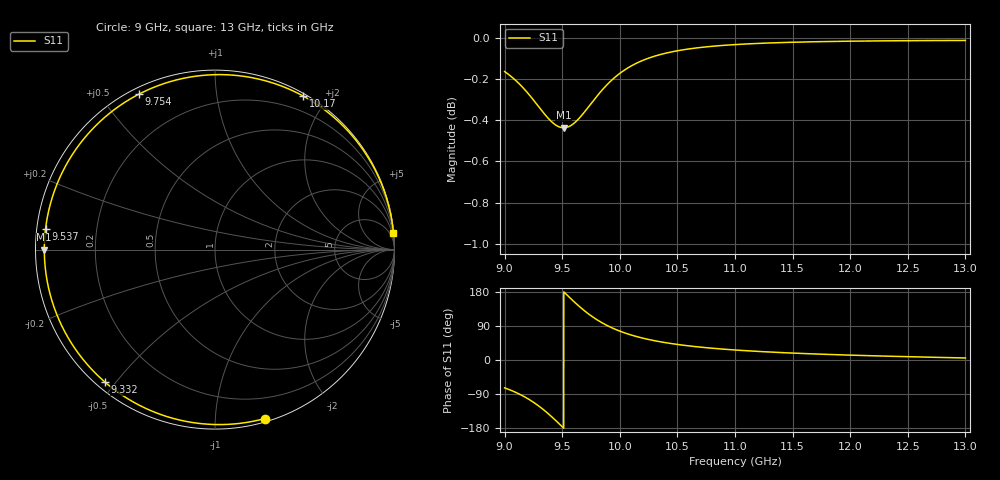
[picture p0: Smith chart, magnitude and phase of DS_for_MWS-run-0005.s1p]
! TOUCHSTONE file generated by CST DESIGN STUDIO
! Date and time: Tue Feb  4 17:55:19 2025
! Project name: C:\Work\MatlabApps\UnitCellOptimizationMatlab\CST\unitcell.cst
! Tree item: Tasks\Sweep1\SPara1\S-Parameters
! Header version: 2024
! Port assignment regex: !\s*Touchstone port\s*([0-9]+)\s*=\s*(CST MWS port|CST DES external port|CST DES block port)\s*(.+)\s* \(\"(.*)\"\)(\s*mode\s*([0-9]+))?.*
! Touchstone port assignment:
! Touchstone port 1 = CST DES external port 1 ("")
# GHz S MA R 50
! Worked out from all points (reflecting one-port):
!   4001 points, 9 GHz to 13 GHz, reference 50 ohm
!   lowest |S11| = -0.4 dB at 9.513 GHz (marker M1), VSWR 39.84, Z = 1.25 - j0.00676 ohm
!   phase of S11 starts at -74 deg and turns -281 deg over the sweep
!   S11 on the Smith chart (normalised r, x): 9 GHz: 0.03, -1.34; 9.332 GHz: 0.03, -0.47; 9.537 GHz: 0.03, +0.06; 9.754 GHz: 0.03, +0.63; 10.17 GHz: 0.03, +1.73; 13 GHz: 0, +21
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9  0.9814 -73.5
9.089  0.977 -84.4
9.193  0.9703 -100.6
9.266  0.9647 -114.7
9.332  0.9595 -129.8
9.378  0.9561 -141.5
9.425  0.9533 -154.3
9.463  0.9518 -165.2
9.5  0.9511 -176.1
9.513  0.951 -180.0
9.537  0.9512 172.9
9.591  0.9529 157.2
9.651  0.9564 140.7
9.702  0.9601 127.8
9.754  0.9643 115.9
9.805  0.9683 105.6
9.861  0.9724 95.6
10  0.9804 76.2
10.08  0.9838 67.7
10.167  0.9867 60.1
10.319  0.9902 49.9
10.5  0.9929 41.0
10.722  0.9949 33.3
11  0.9964 26.4
11.5  0.9977 18.2
12  0.9982 12.8
12.5  0.9985 8.7
13  0.9987 5.4
